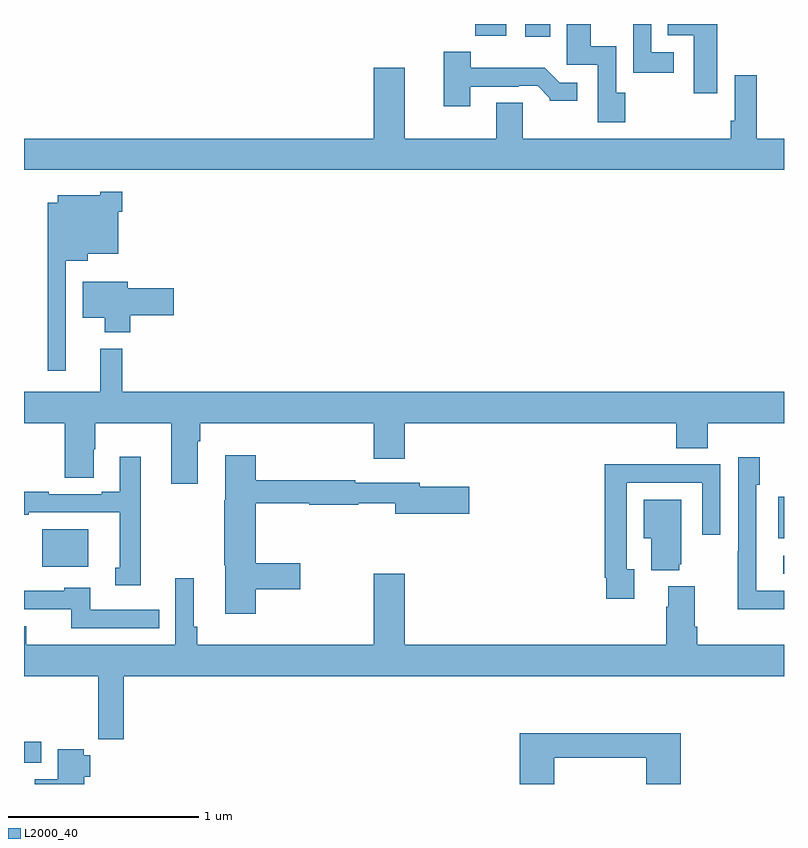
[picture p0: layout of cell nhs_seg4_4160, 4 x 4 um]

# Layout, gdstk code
import gdstk
lib = gdstk.Library(unit=1e-6, precision=1e-09)
def R(c, l, rs):  # rectangles x0, y0, x1, y1
    for r in rs: c.add(gdstk.rectangle(r[:2], r[2:], *l))
def P(c, l, *ps):  # polygons
    for p in ps: c.add(gdstk.Polygon(p, *l))
L2000_40 = (2000, 40)

nhs_seg4_4160 = lib.new_cell('nhs_seg4_4160')
R(nhs_seg4_4160, L2000_40, [(331,815.013,331.09,815.122), (334.995,816.006,335,816.102), (331.097,816.044,331.339,816.241), (334.97,816.194,335,816.413), (333.638,818.832,333.769,818.9), (333.376,818.837,333.538,818.9)])
P(nhs_seg4_4160, L2000_40, [(334.164,818.538),(334.116,818.538),(334.116,818.782),(333.982,818.782),(333.982,818.9),(333.857,818.9),(333.857,818.685),(334.02,818.685),(334.02,818.382),(334.164,818.382)],
  [(334.648,818.9),(334.387,818.9),(334.387,818.84),(334.526,818.84),(334.526,818.535),(334.648,818.535)],
  [(334.42,818.751),(334.302,818.751),(334.302,818.9),(334.206,818.9),(334.206,818.643),(334.42,818.643)],
  [(333.349,818.571),(333.605,818.571),(333.605,818.574),(333.704,818.574),(333.768,818.51),(333.768,818.495),(333.913,818.495),(333.913,818.592),(333.819,818.592),(333.741,818.671),(333.352,818.671),(333.352,818.755),(333.209,818.755),(333.209,818.466),(333.349,818.466)],
  [(332.84,818.671),(332.84,818.296),(331,818.296),(331,818.132),(335,818.132),(335,818.296),(334.856,818.296),(334.856,818.629),(334.74,818.629),(334.74,818.392),(334.72,818.392),(334.72,818.296),(333.625,818.296),(333.625,818.486),(333.485,818.486),(333.485,818.296),(333.004,818.296),(333.004,818.671)],
  [(331.221,817.655),(331.336,817.655),(331.336,817.691),(331.495,817.691),(331.495,817.913),(331.517,817.913),(331.517,818.017),(331.401,818.017),(331.401,817.999),(331.178,817.999),(331.178,817.96),(331.124,817.96),(331.124,817.074),(331.221,817.074)],
  [(331.559,817.366),(331.789,817.366),(331.789,817.508),(331.546,817.508),(331.546,817.543),(331.31,817.543),(331.31,817.355),(331.424,817.355),(331.424,817.277),(331.559,817.277)],
  [(331.915,816.704),(331.928,816.704),(331.928,816.8),(332.84,816.8),(332.84,816.612),(333.004,816.612),(333.004,816.8),(334.433,816.8),(334.433,816.667),(334.598,816.667),(334.598,816.8),(335,816.8),(335,816.964),(331.517,816.964),(331.517,817.192),(331.4,817.192),(331.4,816.964),(331,816.964),(331,816.8),(331.214,816.8),(331.214,816.511),(331.366,816.511),(331.366,816.662),(331.374,816.662),(331.374,816.8),(331.775,816.8),(331.775,816.48),(331.915,816.48)],
  [(332.219,815.926),(332.455,815.926),(332.455,816.063),(332.219,816.063),(332.219,816.378),(332.502,816.378),(332.502,816.37),(332.758,816.37),(332.758,816.378),(332.954,816.378),(332.954,816.323),(333.343,816.323),(333.343,816.465),(333.082,816.465),(333.082,816.486),(332.744,816.486),(332.744,816.499),(332.219,816.499),(332.219,816.631),(332.06,816.631),(332.06,816.393),(332.053,816.393),(332.053,816.051),(332.06,816.051),(332.06,815.796),(332.219,815.796)],
  [(331.615,816.622),(331.505,816.622),(331.505,816.439),(331.409,816.439),(331.409,816.426),(331.13,816.426),(331.13,816.439),(331,816.439),(331,816.318),(331.024,816.318),(331.024,816.33),(331.505,816.33),(331.505,816.039),(331.481,816.039),(331.481,815.945),(331.615,815.945)],
  [(335,815.916),(334.854,815.916),(334.854,816.474),(334.873,816.474),(334.873,816.619),(334.758,816.619),(334.758,816.125),(334.756,816.125),(334.756,815.819),(335,815.819)],
  [(334.213,816.03),(334.173,816.03),(334.173,816.486),(334.569,816.486),(334.569,816.213),(334.665,816.213),(334.665,816.582),(334.349,816.582),(334.349,816.584),(334.057,816.584),(334.057,815.986),(334.065,815.986),(334.065,815.874),(334.213,815.874)],
  [(334.448,816.057),(334.459,816.057),(334.459,816.397),(334.262,816.397),(334.262,816.194),(334.301,816.194),(334.301,816.026),(334.448,816.026)],
  [(331.526,815.468),(335,815.468),(335,815.632),(334.544,815.632),(334.544,815.728),(334.531,815.728),(334.531,815.941),(334.391,815.941),(334.391,815.834),(334.379,815.834),(334.379,815.632),(333.004,815.632),(333.004,816.007),(332.84,816.007),(332.84,815.632),(331.913,815.632),(331.913,815.728),(331.894,815.728),(331.894,815.983),(331.797,815.983),(331.797,815.632),(331.012,815.632),(331.012,815.731),(331,815.731),(331,815.468),(331.39,815.468),(331.39,815.136),(331.526,815.136)],
  [(331.712,815.817),(331.348,815.817),(331.348,815.932),(331.212,815.932),(331.212,815.916),(331,815.916),(331,815.82),(331.249,815.82),(331.249,815.721),(331.712,815.721)],
  [(333.791,815.038),(334.274,815.038),(334.274,814.9),(334.457,814.9),(334.457,815.167),(333.608,815.167),(333.608,814.9),(333.791,814.9)],
  [(331.318,814.938),(331.349,814.938),(331.349,815.052),(331.314,815.052),(331.314,815.082),(331.178,815.082),(331.178,814.924),(331.057,814.924),(331.057,814.9),(331.318,814.9)])

lib.write_gds('nhs_seg4_4160.gds')
